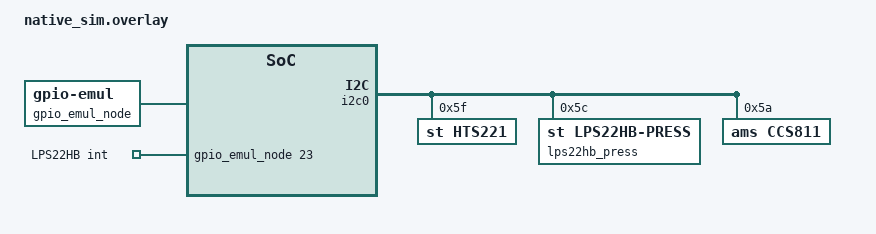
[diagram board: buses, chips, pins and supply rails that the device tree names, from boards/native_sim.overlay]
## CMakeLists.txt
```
# Copyright (c) 2024 Nordic Semiconductor ASA
# SPDX-License-Identifier: LicenseRef-Nordic-5-Clause
cmake_minimum_required(VERSION 3.20.0)

find_package(Zephyr REQUIRED HINTS $ENV{ZEPHYR_BASE})
project(unit_sensor_manager)

# Shared FFF mocks (sensor_manager_mock.* is excluded; the real production
# module is the unit under test, not a fake — link only the bits we need).
add_subdirectory(${CMAKE_SOURCE_DIR}/../common/mocks mocks)

target_sources(app PRIVATE
	src/test_sensor_manager.c
	src/mock_drivers.c
	src/stub_devices.c
	# Reuse the battery_service FFF mock from the battery_service suite —
	# zero duplication.
	${CMAKE_SOURCE_DIR}/../battery_service/src/mock_battery_service.c
	# Production unit under test:
	${CMAKE_SOURCE_DIR}/../../../src/sensor_manager.c
)

target_include_directories(app PRIVATE
	src
	${CMAKE_SOURCE_DIR}/../battery_service/src
	${CMAKE_SOURCE_DIR}/../../../include
)

# Link against shared mocks for DEFINE_FFF_GLOBALS only; suppress the
# sensor_manager_mock since this binary defines the real sensor_manager
# functions itself (they live in the production object file we just added).
target_link_libraries(app PRIVATE app_test_mocks)
```

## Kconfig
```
# Inline the app Kconfig symbols sensor_manager.c references so the
# unit test does not pull in the whole application Kconfig (which has
# `mainmenu` and `source "Kconfig.zephyr"` and is therefore not safely
# composable into a test binary).

config SENSOR_PERIODIC_SAMPLING
	bool "Periodic sensor sampling while connected"
	default n

config SENSOR_ENV_INTERVAL_SEC
	int "Environmental sensor sampling interval in seconds"
	default 900
	range 30 86400
	depends on SENSOR_PERIODIC_SAMPLING

config SENSOR_AIR_QUALITY_DIVISOR
	int "CCS811 read frequency divisor relative to main interval"
	default 2
	range 1 100
	depends on SENSOR_PERIODIC_SAMPLING

source "Kconfig.zephyr"
```

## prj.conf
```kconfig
# Unit test for sensor_manager.c — runs on native_sim with FFF fakes for
# the sensor driver wrappers and battery_service. i2c0 uses the
# zephyr,i2c-emul-controller so device_is_ready() returns true and init
# passes the i2c gate.

CONFIG_ZTEST=y
CONFIG_ZTEST_VERBOSE_OUTPUT=y

CONFIG_EXTERNAL_LIBC=y
CONFIG_USERSPACE=n

CONFIG_HEAP_MEM_POOL_SIZE=16384
CONFIG_MAIN_STACK_SIZE=4096

CONFIG_BT=n

# Real I2C controller (emulated) so device_is_ready(i2c_dev) succeeds.
CONFIG_I2C=y
CONFIG_EMUL=y
CONFIG_I2C_EMUL=y

# Real GPIO emulator for the lps22hb_int phandle resolution.
CONFIG_GPIO=y
CONFIG_GPIO_EMUL=y

# Sensor subsystem disabled — the three sensor drivers are FFF-faked.
CONFIG_SENSOR=n
CONFIG_SPI=n
CONFIG_PM=n

# Settings disabled — sensor_manager.c does not use it directly.

CONFIG_LOG=y
CONFIG_LOG_MODE_IMMEDIATE=y
CONFIG_LOG_DEFAULT_LEVEL=2
```

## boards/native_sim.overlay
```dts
/*
 * Copyright (c) 2024 Nordic Semiconductor ASA
 * SPDX-License-Identifier: LicenseRef-Nordic-5-Clause
 *
 * Devicetree fragment for unit-testing app/src/sensor_manager.c on
 * native_sim.
 *
 * native_sim's base DTS already provides:
 *   - i2c0  (zephyr,i2c-emul-controller, label "i2c0")  -> we extend it
 *           with three placeholder sensor children so DEVICE_DT_GET()
 *           resolves at link time. CONFIG_SENSOR=n means the actual sensor
 *           drivers are not built in, so device_is_ready() returns false
 *           for these nodes -- which is the path the unit tests assert.
 *
 * We add a gpio-emul controller for the lps22hb_int phandle reference
 * (compile-time only; never reached at runtime since lps22hb_press is not
 * ready when CONFIG_SENSOR=n).
 */

/ {
	gpio_emul_node: gpio_emul {
		compatible = "zephyr,gpio-emul";
		gpio-controller;
		#gpio-cells = <2>;
		status = "okay";
	};

	lps22hb_keys {
		compatible = "gpio-keys";

		lps22hb_int: lps22hb_int {
			gpios = <&gpio_emul_node 23 0>;
			label = "LPS22HB int";
		};
	};
};

&i2c0 {
	hts221: hts221@5f {
		compatible = "st,hts221";
		reg = <0x5f>;
		status = "okay";
	};

	lps22hb_press: lps22hb@5c {
		compatible = "st,lps22hb-press";
		reg = <0x5c>;
		status = "okay";
	};

	ccs811: ccs811@5a {
		compatible = "ams,ccs811";
		reg = <0x5a>;
		status = "okay";
	};
};
```

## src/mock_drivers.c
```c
/*
 * Copyright (c) 2024 Nordic Semiconductor ASA
 * SPDX-License-Identifier: LicenseRef-Nordic-5-Clause
 */

#include "mock_drivers.h"

DEFINE_FAKE_VALUE_FUNC(int, hts221_driver_init, const struct device *);
DEFINE_FAKE_VALUE_FUNC(int, hts221_driver_power_on);
DEFINE_FAKE_VALUE_FUNC(int, hts221_driver_power_off);
DEFINE_FAKE_VALUE_FUNC(bool, hts221_driver_is_enabled);
DEFINE_FAKE_VALUE_FUNC(int, hts221_driver_read_temperature, float *);
DEFINE_FAKE_VALUE_FUNC(int, hts221_driver_read_humidity, float *);
DEFINE_FAKE_VALUE_FUNC(int, hts221_driver_read_both, float *, float *);

DEFINE_FAKE_VALUE_FUNC(int, lps22hb_driver_init, const struct device *,
		       const struct gpio_dt_spec *);
DEFINE_FAKE_VALUE_FUNC(int, lps22hb_driver_power_on);
DEFINE_FAKE_VALUE_FUNC(int, lps22hb_driver_trigger_oneshot);
DEFINE_FAKE_VALUE_FUNC(int, lps22hb_driver_wait_data_ready, k_timeout_t);
DEFINE_FAKE_VALUE_FUNC(int, lps22hb_driver_power_off);
DEFINE_FAKE_VALUE_FUNC(bool, lps22hb_driver_is_enabled);
DEFINE_FAKE_VALUE_FUNC(int, lps22hb_driver_read_pressure, float *);

DEFINE_FAKE_VALUE_FUNC(int, ccs811_driver_init, const struct device *);
DEFINE_FAKE_VOID_FUNC(ccs811_driver_on_connected);
DEFINE_FAKE_VOID_FUNC(ccs811_driver_on_disconnected);
DEFINE_FAKE_VALUE_FUNC(bool, ccs811_driver_is_ready);
DEFINE_FAKE_VALUE_FUNC(int64_t, ccs811_driver_conditioning_time_remaining);
DEFINE_FAKE_VALUE_FUNC(int, ccs811_driver_save_baseline);
DEFINE_FAKE_VALUE_FUNC(int, ccs811_driver_restore_baseline);
DEFINE_FAKE_VALUE_FUNC(bool, ccs811_driver_baseline_save_due);
DEFINE_FAKE_VALUE_FUNC(int, ccs811_driver_run_diagnostics);
DEFINE_FAKE_VALUE_FUNC(int, ccs811_driver_manual_reset);
DEFINE_FAKE_VALUE_FUNC(bool, ccs811_driver_is_enabled);
DEFINE_FAKE_VALUE_FUNC(int, ccs811_driver_read_air_quality, uint16_t *, uint16_t *, float, float);
DEFINE_FAKE_VALUE_FUNC(int, ccs811_driver_read_for_ble, uint16_t *, uint16_t *, float, float);
DEFINE_FAKE_VALUE_FUNC(int, ccs811_driver_get_mode);
DEFINE_FAKE_VALUE_FUNC(int, ccs811_driver_set_mode, enum ccs811_measurement_mode);
```

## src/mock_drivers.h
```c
/*
 * Copyright (c) 2024 Nordic Semiconductor ASA
 * SPDX-License-Identifier: LicenseRef-Nordic-5-Clause
 *
 * FFF fakes for the three thin sensor driver wrappers used by
 * app/src/sensor_manager.c. These let us drive every code path of
 * sensor_manager (success, failure, conditioning, range-clamp) without
 * any real I2C transactions.
 */

#ifndef MOCK_DRIVERS_H_
#define MOCK_DRIVERS_H_

#include <zephyr/fff.h>
#include <zephyr/device.h>
#include <zephyr/drivers/gpio.h>
#include <zephyr/kernel.h>
#include <stdint.h>
#include <stdbool.h>

#include "sensor_hts221_driver.h"
#include "sensor_lps22hb_driver.h"
#include "sensor_ccs811_driver.h"

/* HTS221 */
DECLARE_FAKE_VALUE_FUNC(int, hts221_driver_init, const struct device *);
DECLARE_FAKE_VALUE_FUNC(int, hts221_driver_power_on);
DECLARE_FAKE_VALUE_FUNC(int, hts221_driver_power_off);
DECLARE_FAKE_VALUE_FUNC(bool, hts221_driver_is_enabled);
DECLARE_FAKE_VALUE_FUNC(int, hts221_driver_read_temperature, float *);
DECLARE_FAKE_VALUE_FUNC(int, hts221_driver_read_humidity, float *);
DECLARE_FAKE_VALUE_FUNC(int, hts221_driver_read_both, float *, float *);

/* LPS22HB */
DECLARE_FAKE_VALUE_FUNC(int, lps22hb_driver_init, const struct device *,
			const struct gpio_dt_spec *);
DECLARE_FAKE_VALUE_FUNC(int, lps22hb_driver_power_on);
DECLARE_FAKE_VALUE_FUNC(int, lps22hb_driver_trigger_oneshot);
DECLARE_FAKE_VALUE_FUNC(int, lps22hb_driver_wait_data_ready, k_timeout_t);
DECLARE_FAKE_VALUE_FUNC(int, lps22hb_driver_power_off);
DECLARE_FAKE_VALUE_FUNC(bool, lps22hb_driver_is_enabled);
DECLARE_FAKE_VALUE_FUNC(int, lps22hb_driver_read_pressure, float *);

/* CCS811 */
DECLARE_FAKE_VALUE_FUNC(int, ccs811_driver_init, const struct device *);
DECLARE_FAKE_VOID_FUNC(ccs811_driver_on_connected);
DECLARE_FAKE_VOID_FUNC(ccs811_driver_on_disconnected);
DECLARE_FAKE_VALUE_FUNC(bool, ccs811_driver_is_ready);
DECLARE_FAKE_VALUE_FUNC(int64_t, ccs811_driver_conditioning_time_remaining);
DECLARE_FAKE_VALUE_FUNC(int, ccs811_driver_save_baseline);
DECLARE_FAKE_VALUE_FUNC(int, ccs811_driver_restore_baseline);
DECLARE_FAKE_VALUE_FUNC(bool, ccs811_driver_baseline_save_due);
DECLARE_FAKE_VALUE_FUNC(int, ccs811_driver_run_diagnostics);
DECLARE_FAKE_VALUE_FUNC(int, ccs811_driver_manual_reset);
DECLARE_FAKE_VALUE_FUNC(bool, ccs811_driver_is_enabled);
DECLARE_FAKE_VALUE_FUNC(int, ccs811_driver_read_air_quality, uint16_t *, uint16_t *, float, float);
DECLARE_FAKE_VALUE_FUNC(int, ccs811_driver_read_for_ble, uint16_t *, uint16_t *, float, float);
DECLARE_FAKE_VALUE_FUNC(int, ccs811_driver_get_mode);
DECLARE_FAKE_VALUE_FUNC(int, ccs811_driver_set_mode, enum ccs811_measurement_mode);

#define MOCK_DRIVERS_FFF_FAKES_LIST(FAKE)                                                          \
	FAKE(hts221_driver_init)                                                                   \
	FAKE(hts221_driver_power_on)                                                               \
	FAKE(hts221_driver_power_off)                                                              \
	FAKE(hts221_driver_is_enabled)                                                             \
	FAKE(hts221_driver_read_temperature)                                                       \
	FAKE(hts221_driver_read_humidity)                                                          \
	FAKE(hts221_driver_read_both)                                                              \
	FAKE(lps22hb_driver_init)                                                                  \
	FAKE(lps22hb_driver_power_on)                                                              \
	FAKE(lps22hb_driver_trigger_oneshot)                                                       \
	FAKE(lps22hb_driver_wait_data_ready)                                                       \
	FAKE(lps22hb_driver_power_off)                                                             \
	FAKE(lps22hb_driver_is_enabled)                                                            \
	FAKE(lps22hb_driver_read_pressure)                                                         \
	FAKE(ccs811_driver_init)                                                                   \
	FAKE(ccs811_driver_on_connected)                                                           \
	FAKE(ccs811_driver_on_disconnected)                                                        \
	FAKE(ccs811_driver_is_ready)                                                               \
	FAKE(ccs811_driver_conditioning_time_remaining)                                            \
	FAKE(ccs811_driver_save_baseline)                                                          \
	FAKE(ccs811_driver_restore_baseline)                                                       \
	FAKE(ccs811_driver_baseline_save_due)                                                      \
	FAKE(ccs811_driver_run_diagnostics)                                                        \
	FAKE(ccs811_driver_manual_reset)                                                           \
	FAKE(ccs811_driver_is_enabled)                                                             \
	FAKE(ccs811_driver_read_air_quality)                                                       \
	FAKE(ccs811_driver_read_for_ble)                                                           \
	FAKE(ccs811_driver_get_mode)                                                               \
	FAKE(ccs811_driver_set_mode)

#endif /* MOCK_DRIVERS_H_ */
```

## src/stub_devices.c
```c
/*
 * Copyright (c) 2024 Nordic Semiconductor ASA
 * SPDX-License-Identifier: LicenseRef-Nordic-5-Clause
 *
 * Stub `struct device` instances for the three sensor DT nodes so
 * DEVICE_DT_GET(DT_NODELABEL(hts221|lps22hb_press|ccs811)) resolves at
 * link time on native_sim.
 *
 * Each stub init returns 0, so device_is_ready() returns true and MY
 * sensor_manager_init() takes the success path through every driver init
 * call (which is then served by the FFF fakes in mock_drivers.c).
 */

#include <zephyr/device.h>
#include <zephyr/init.h>

static int stub_dev_init(const struct device *dev)
{
	ARG_UNUSED(dev);
	return 0;
}

DEVICE_DT_DEFINE(DT_NODELABEL(hts221), stub_dev_init, NULL, NULL, NULL,
		 POST_KERNEL, 90, NULL);

DEVICE_DT_DEFINE(DT_NODELABEL(lps22hb_press), stub_dev_init, NULL, NULL, NULL,
		 POST_KERNEL, 90, NULL);

DEVICE_DT_DEFINE(DT_NODELABEL(ccs811), stub_dev_init, NULL, NULL, NULL,
		 POST_KERNEL, 90, NULL);
```

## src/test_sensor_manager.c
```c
/*
 * Copyright (c) 2024 Nordic Semiconductor ASA
 * SPDX-License-Identifier: LicenseRef-Nordic-5-Clause
 *
 * Unit tests for app/src/sensor_manager.c.
 *
 * The unit-under-test holds static state (initialized, armed, current_data,
 * connected_count, registered callback) that cannot be reset between tests.
 * Pre-init guards therefore cannot run after the first test that calls init,
 * so they live in their own ZTEST_SUITE binary if isolation is needed; here
 * we exercise them by name "test_pre_*" and rely on the fact that they only
 * read state. Behaviour tests reset all FFF fakes and force the callback to
 * NULL in before_each so each test starts from a clean observation surface.
 *
 * Strategy: for every test, drive a known input via FFF custom_fake or
 * return_val, exercise MY code, then assert MY observable output (cache,
 * getters, valid_mask, on-the-wire fan-out parameters). We never assert
 * "Zephyr did the right thing" -- only that my code produced the contracted
 * output for the given input.
 */

#include <zephyr/ztest.h>
#include <zephyr/fff.h>
#include <zephyr/kernel.h>
#include <math.h>
#include <string.h>

#include "sensor_manager.h"
#include "mock_drivers.h"
#include "mock_battery_service.h"

/* DEFINE_FFF_GLOBALS lives in the shared mocks library (fff_globals.c). */

/* ---- Callback observation ------------------------------------------------ */

static int callback_call_count;
static struct sensor_data last_callback_data;

static void test_callback(const struct sensor_data *data)
{
	callback_call_count++;
	last_callback_data = *data;
}

/* ---- CCS811 read helpers (drive known inputs into MY code) -------------- */

/* Captures the temperature and humidity that MY code passes to the CCS811
 * driver as environmental compensation arguments. */
static float captured_t;
static float captured_h;

static int read_aq_capture_compensation(uint16_t *co2, uint16_t *tvoc, float t, float h)
{
	captured_t = t;
	captured_h = h;
	if (co2) {
		*co2 = 600U;
	}
	if (tvoc) {
		*tvoc = 25U;
	}
	return 0;
}

static int read_aq_valid(uint16_t *co2, uint16_t *tvoc, float t, float h)
{
	ARG_UNUSED(t);
	ARG_UNUSED(h);
	if (co2) {
		*co2 = 600U;
	}
	if (tvoc) {
		*tvoc = 25U;
	}
	return 0;
}

static int read_aq_ble_valid(uint16_t *co2, uint16_t *tvoc, float t, float h)
{
	ARG_UNUSED(t);
	ARG_UNUSED(h);
	if (co2) {
		*co2 = 750U;
	}
	if (tvoc) {
		*tvoc = 40U;
	}
	return 0;
}

static int read_aq_invalid_range(uint16_t *co2, uint16_t *tvoc, float t, float h)
{
	ARG_UNUSED(t);
	ARG_UNUSED(h);
	if (co2) {
		*co2 = CCS811_INVALID_READING; /* sentinel */
	}
	if (tvoc) {
		*tvoc = 5000U; /* > CCS811_TVOC_MAX_PPB (1187) */
	}
	return 0;
}

/* eCO2 in-range, TVOC out-of-range: exercises the asymmetric branch in
 * read_air_quality(): individual cached values updated independently, but
 * SENSOR_AIR_QUALITY flag only set when BOTH are valid. */
static int read_aq_only_eco2_valid(uint16_t *co2, uint16_t *tvoc, float t, float h)
{
	ARG_UNUSED(t);
	ARG_UNUSED(h);
	if (co2) {
		*co2 = 700U;
	}
	if (tvoc) {
		*tvoc = 9999U; /* out of range */
	}
	return 0;
}

static int read_aq_only_tvoc_valid(uint16_t *co2, uint16_t *tvoc, float t, float h)
{
	ARG_UNUSED(t);
	ARG_UNUSED(h);
	if (co2) {
		*co2 = 0U; /* invalid: 0 fails the eco2 != 0 check */
	}
	if (tvoc) {
		*tvoc = 100U;
	}
	return 0;
}

/* ---- HTS221 / LPS22HB read helpers -------------------------------------- */

static int read_both_valid(float *temp, float *hum)
{
	if (temp) {
		*temp = 21.5f;
	}
	if (hum) {
		*hum = 47.0f;
	}
	return 0;
}

static int read_pressure_valid(float *p)
{
	if (p) {
		*p = 1013.25f;
	}
	return 0;
}

/* ---- Suite plumbing ----------------------------------------------------- */

static void reset_all_fakes(void)
{
	MOCK_DRIVERS_FFF_FAKES_LIST(RESET_FAKE);
	BATTERY_SERVICE_FFF_FAKES_LIST(RESET_FAKE);
	FFF_RESET_HISTORY();
	callback_call_count = 0;
	memset(&last_callback_data, 0, sizeof(last_callback_data));
	captured_t = 0.0f;
	captured_h = 0.0f;
}

static void before_each(void *fixture)
{
	ARG_UNUSED(fixture);
	reset_all_fakes();
	/* Detach any callback a previous test registered so update() does not
	 * inadvertently invoke stale callbacks. The unit-under-test allows NULL. */
	(void)sensor_manager_register_callback(NULL);
}

ZTEST_SUITE(sensor_manager, NULL, NULL, before_each, NULL, NULL);

/* ---- Pre-init guards ---------------------------------------------------- */
/* These tests rely on running before any test in this binary calls init().
 * ztest does not contractually guarantee ordering; we use the "test_pre_*"
 * prefix so they sort first under the default lex ordering. If a future
 * change breaks that, move them to a separate suite binary. */

ZTEST(sensor_manager, test_pre_a_get_data_pre_init_returns_einval)
{
	struct sensor_data d;
	zassert_equal(sensor_manager_get_data(&d), -EINVAL);
}

ZTEST(sensor_manager, test_pre_b_update_pre_init_returns_einval)
{
	zassert_equal(sensor_manager_update(), -EINVAL);
}

ZTEST(sensor_manager, test_pre_c_update_selective_pre_init_returns_einval)
{
	zassert_equal(sensor_manager_update_selective(SENSOR_ENV_BASIC), -EINVAL);
}

ZTEST(sensor_manager, test_pre_d_arm_pre_init_returns_einval)
{
	zassert_equal(sensor_manager_arm(), -EINVAL);
}

ZTEST(sensor_manager, test_pre_e_on_connected_unarmed_returns_einval)
{
	zassert_equal(sensor_manager_on_connected(), -EINVAL);
}

ZTEST(sensor_manager, test_pre_f_pre_init_getters_return_zero)
{
	zassert_equal(sensor_manager_get_temperature(), 0.0f);
	zassert_equal(sensor_manager_get_humidity(), 0.0f);
	zassert_equal(sensor_manager_get_pressure(), 0.0f);
	zassert_equal(sensor_manager_get_eco2(), 0U);
	zassert_equal(sensor_manager_get_tvoc(), 0U);
	zassert_equal(sensor_manager_get_battery_level(), 0U);
	zassert_false(sensor_manager_is_armed());
	zassert_equal(sensor_manager_get_connection_count(), 0U);
}

ZTEST(sensor_manager, test_pre_g_on_disconnected_no_count_is_safe)
{
	/* MY contract: warn and return without crashing when count == 0. */
	sensor_manager_on_disconnected();
}

ZTEST(sensor_manager, test_pre_h_is_ccs811_ready_proxies_to_driver)
{
	ccs811_driver_is_ready_fake.return_val = true;
	zassert_true(sensor_manager_is_ccs811_ready());
	zassert_equal(ccs811_driver_is_ready_fake.call_count, 1);

	ccs811_driver_is_ready_fake.return_val = false;
	zassert_false(sensor_manager_is_ccs811_ready());
}

/* ---- Init --------------------------------------------------------------- */

ZTEST(sensor_manager, test_q01_init_succeeds_and_invokes_each_driver_init)
{
	hts221_driver_read_both_fake.custom_fake = read_both_valid;
	lps22hb_driver_read_pressure_fake.custom_fake = read_pressure_valid;
	ccs811_driver_read_air_quality_fake.custom_fake = read_aq_valid;
	battery_service_get_level_fake.return_val = 88;
	battery_service_is_charging_fake.return_val = false;

	int ret = sensor_manager_init();
	zassert_equal(ret, 0, "init returned %d", ret);

	zassert_equal(battery_service_init_fake.call_count, 1,
		      "init must call battery_service_init exactly once");
	zassert_equal(hts221_driver_init_fake.call_count, 1);
	zassert_equal(lps22hb_driver_init_fake.call_count, 1);
	zassert_equal(ccs811_driver_init_fake.call_count, 1);
}

ZTEST(sensor_manager, test_q02_init_is_idempotent)
{
	int ret = sensor_manager_init();
	zassert_equal(ret, 0);
	/* Second call must short-circuit and not re-init drivers. */
	zassert_equal(hts221_driver_init_fake.call_count, 0,
		      "idempotent init must not re-init HTS221");
	zassert_equal(lps22hb_driver_init_fake.call_count, 0);
	zassert_equal(ccs811_driver_init_fake.call_count, 0);
	zassert_equal(battery_service_init_fake.call_count, 0);
}

/* ---- Update fan-out and caching ---------------------------------------- */

ZTEST(sensor_manager, test_r01_update_writes_full_cache_and_invokes_callback)
{
	hts221_driver_read_both_fake.custom_fake = read_both_valid;
	lps22hb_driver_read_pressure_fake.custom_fake = read_pressure_valid;
	ccs811_driver_read_air_quality_fake.custom_fake = read_aq_valid;
	battery_service_get_level_fake.return_val = 75;
	battery_service_is_charging_fake.return_val = true;

	zassert_equal(sensor_manager_register_callback(test_callback), 0);
	callback_call_count = 0;

	zassert_equal(sensor_manager_update(), 0);

	/* Each driver read called exactly once. */
	zassert_equal(hts221_driver_read_both_fake.call_count, 1);
	zassert_equal(lps22hb_driver_read_pressure_fake.call_count, 1);
	zassert_equal(ccs811_driver_read_air_quality_fake.call_count, 1);
	zassert_equal(battery_service_get_level_fake.call_count, 1);

	/* Cache reflects driver outputs. */
	zassert_within(sensor_manager_get_temperature(), 21.5f, 0.01f);
	zassert_within(sensor_manager_get_humidity(), 47.0f, 0.01f);
	zassert_within(sensor_manager_get_pressure(), 1013.25f, 0.01f);
	zassert_equal(sensor_manager_get_eco2(), 600U);
	zassert_equal(sensor_manager_get_tvoc(), 25U);
	zassert_equal(sensor_manager_get_battery_level(), 75U);

	/* Callback fired exactly once with the same payload as the cache. */
	zassert_equal(callback_call_count, 1);
	zassert_true((last_callback_data.valid_mask & SENSOR_TEMPERATURE) != 0);
	zassert_true((last_callback_data.valid_mask & SENSOR_HUMIDITY) != 0);
	zassert_true((last_callback_data.valid_mask & SENSOR_PRESSURE) != 0);
	zassert_true((last_callback_data.valid_mask & SENSOR_AIR_QUALITY) != 0);
	zassert_true((last_callback_data.valid_mask & SENSOR_BATTERY) != 0);
	zassert_true(last_callback_data.battery_charging);
}

ZTEST(sensor_manager, test_r02_update_air_quality_invalid_range_clears_flag)
{
	ccs811_driver_read_air_quality_fake.custom_fake = read_aq_invalid_range;

	zassert_equal(sensor_manager_update_selective(SENSOR_AIR_QUALITY), 0);

	struct sensor_data snap;
	zassert_equal(sensor_manager_get_data(&snap), 0);
	zassert_equal(snap.valid_mask & SENSOR_AIR_QUALITY, 0,
		      "out-of-range readings must clear SENSOR_AIR_QUALITY in valid_mask");
	zassert_equal(sensor_manager_get_eco2(), 0U);
	zassert_equal(sensor_manager_get_tvoc(), 0U);
}

ZTEST(sensor_manager, test_r03_air_quality_only_eco2_valid_does_not_set_flag)
{
	/* Asymmetric branch in read_air_quality(): when only one of the two
	 * is in range, the cached value is updated but SENSOR_AIR_QUALITY is
	 * NOT set (the public mask requires both). */
	ccs811_driver_read_air_quality_fake.custom_fake = read_aq_only_eco2_valid;

	zassert_equal(sensor_manager_update_selective(SENSOR_AIR_QUALITY), 0);

	struct sensor_data snap;
	zassert_equal(sensor_manager_get_data(&snap), 0);
	zassert_equal(snap.valid_mask & SENSOR_AIR_QUALITY, 0,
		      "asymmetric validity must NOT set SENSOR_AIR_QUALITY");
	/* Getters honour the mask, so they read 0 even though the cache field
	 * for eco2 was internally written. That's the public contract. */
	zassert_equal(sensor_manager_get_eco2(), 0U);
}

ZTEST(sensor_manager, test_r04_air_quality_only_tvoc_valid_does_not_set_flag)
{
	ccs811_driver_read_air_quality_fake.custom_fake = read_aq_only_tvoc_valid;

	zassert_equal(sensor_manager_update_selective(SENSOR_AIR_QUALITY), 0);

	struct sensor_data snap;
	zassert_equal(sensor_manager_get_data(&snap), 0);
	zassert_equal(snap.valid_mask & SENSOR_AIR_QUALITY, 0,
		      "asymmetric validity must NOT set SENSOR_AIR_QUALITY");
}

ZTEST(sensor_manager, test_r05_update_selective_only_reads_selected)
{
	hts221_driver_read_both_fake.custom_fake = read_both_valid;
	lps22hb_driver_read_pressure_fake.custom_fake = read_pressure_valid;

	zassert_equal(sensor_manager_update_selective(SENSOR_TEMP_HUMIDITY), 0);

	zassert_equal(hts221_driver_read_both_fake.call_count, 1);
	zassert_equal(lps22hb_driver_read_pressure_fake.call_count, 0,
		      "pressure must NOT be read when not selected");
	zassert_equal(ccs811_driver_read_air_quality_fake.call_count, 0);
	zassert_equal(battery_service_get_level_fake.call_count, 0);
}

ZTEST(sensor_manager, test_r06_get_data_null_pointer_returns_einval)
{
	zassert_equal(sensor_manager_get_data(NULL), -EINVAL);
}

/* ---- Per-driver failure must surface in valid_mask --------------------- */

ZTEST(sensor_manager, test_r07_hts221_failure_clears_temp_humidity_only)
{
	/* Seed cache with valid values for everything. */
	hts221_driver_read_both_fake.custom_fake = read_both_valid;
	lps22hb_driver_read_pressure_fake.custom_fake = read_pressure_valid;
	ccs811_driver_read_air_quality_fake.custom_fake = read_aq_valid;
	battery_service_get_level_fake.return_val = 50;
	zassert_equal(sensor_manager_update(), 0);

	struct sensor_data before;
	zassert_equal(sensor_manager_get_data(&before), 0);
	zassert_true((before.valid_mask & SENSOR_TEMPERATURE) != 0);
	zassert_true((before.valid_mask & SENSOR_PRESSURE) != 0);

	/* Now make HTS221 fail on the next update. */
	hts221_driver_read_both_fake.custom_fake = NULL;
	hts221_driver_read_both_fake.return_val = -EIO;

	zassert_equal(sensor_manager_update(), 0);

	struct sensor_data after;
	zassert_equal(sensor_manager_get_data(&after), 0);
	zassert_equal(after.valid_mask & SENSOR_TEMPERATURE, 0,
		      "HTS221 failure must clear SENSOR_TEMPERATURE");
	zassert_equal(after.valid_mask & SENSOR_HUMIDITY, 0,
		      "HTS221 failure must clear SENSOR_HUMIDITY");
	zassert_true((after.valid_mask & SENSOR_PRESSURE) != 0,
		     "HTS221 failure must NOT touch SENSOR_PRESSURE");
	zassert_true((after.valid_mask & SENSOR_AIR_QUALITY) != 0,
		     "HTS221 failure must NOT touch SENSOR_AIR_QUALITY");
}

ZTEST(sensor_manager, test_r08_lps22hb_failure_clears_pressure_only)
{
	hts221_driver_read_both_fake.custom_fake = read_both_valid;
	lps22hb_driver_read_pressure_fake.custom_fake = read_pressure_valid;
	ccs811_driver_read_air_quality_fake.custom_fake = read_aq_valid;
	battery_service_get_level_fake.return_val = 50;
	zassert_equal(sensor_manager_update(), 0);

	lps22hb_driver_read_pressure_fake.custom_fake = NULL;
	lps22hb_driver_read_pressure_fake.return_val = -EIO;

	zassert_equal(sensor_manager_update(), 0);

	struct sensor_data after;
	zassert_equal(sensor_manager_get_data(&after), 0);
	zassert_equal(after.valid_mask & SENSOR_PRESSURE, 0,
		      "LPS22HB failure must clear SENSOR_PRESSURE");
	zassert_true((after.valid_mask & SENSOR_TEMPERATURE) != 0,
		     "LPS22HB failure must NOT touch SENSOR_TEMPERATURE");
}

/* ---- Environmental compensation pass-through to CCS811 ----------------- */

ZTEST(sensor_manager, test_r09_compensation_passes_cached_temp_humidity_to_ccs811)
{
	hts221_driver_read_both_fake.custom_fake = read_both_valid;
	lps22hb_driver_read_pressure_fake.custom_fake = read_pressure_valid;
	ccs811_driver_read_air_quality_fake.custom_fake = read_aq_capture_compensation;
	battery_service_get_level_fake.return_val = 50;

	zassert_equal(sensor_manager_update(), 0);

	zassert_within(captured_t, 21.5f, 0.01f,
		       "CCS811 compensation must receive cached temperature, got %f",
		       (double)captured_t);
	zassert_within(captured_h, 47.0f, 0.01f,
		       "CCS811 compensation must receive cached humidity, got %f",
		       (double)captured_h);
}

ZTEST(sensor_manager, test_r10_compensation_passes_nan_when_temp_humidity_invalid)
{
	/* Make HTS221 fail so SENSOR_TEMPERATURE/HUMIDITY bits are cleared. */
	hts221_driver_read_both_fake.return_val = -EIO;
	lps22hb_driver_read_pressure_fake.custom_fake = read_pressure_valid;
	ccs811_driver_read_air_quality_fake.custom_fake = read_aq_capture_compensation;
	battery_service_get_level_fake.return_val = 50;

	zassert_equal(sensor_manager_update(), 0);

	zassert_true(isnan(captured_t),
		     "CCS811 compensation temp must be NaN when SENSOR_TEMPERATURE invalid");
	zassert_true(isnan(captured_h),
		     "CCS811 compensation humidity must be NaN when SENSOR_HUMIDITY invalid");
}

/* ---- Arm + connection lifecycle --------------------------------------- */

ZTEST(sensor_manager, test_s01_arm_requires_callback)
{
	/* before_each forced callback NULL. */
	zassert_equal(sensor_manager_arm(), -EINVAL, "arm must reject when no callback registered");
}

ZTEST(sensor_manager, test_s02_arm_succeeds_with_callback)
{
	zassert_equal(sensor_manager_register_callback(test_callback), 0);
	zassert_equal(sensor_manager_arm(), 0);
}

ZTEST(sensor_manager, test_s03_on_connected_after_arm_does_env_then_aq_update)
{
	zassert_equal(sensor_manager_register_callback(test_callback), 0);
	zassert_equal(sensor_manager_arm(), 0);

	hts221_driver_read_both_fake.custom_fake = read_both_valid;
	lps22hb_driver_read_pressure_fake.custom_fake = read_pressure_valid;
	ccs811_driver_read_air_quality_fake.custom_fake = read_aq_valid;
	battery_service_get_level_fake.return_val = 70;

	/* Reset counters to isolate effect of on_connected. */
	hts221_driver_read_both_fake.call_count = 0;
	lps22hb_driver_read_pressure_fake.call_count = 0;
	ccs811_driver_read_air_quality_fake.call_count = 0;
	battery_service_get_level_fake.call_count = 0;

	zassert_equal(sensor_manager_on_connected(), 0);
	zassert_equal(sensor_manager_get_connection_count(), 1U);
	zassert_true(sensor_manager_is_armed());
	zassert_equal(ccs811_driver_on_connected_fake.call_count, 1,
		      "connect must notify CCS811 driver");

	/* MY contract per sensor_manager.c on_connected():
	 *   update_selective(SENSOR_ENV_BASIC) -> hts221+lps22hb+battery x1
	 *   update_selective(SENSOR_AIR_QUALITY) -> ccs811 x1
	 */
	zassert_equal(hts221_driver_read_both_fake.call_count, 1,
		      "on_connected must trigger one env update");
	zassert_equal(lps22hb_driver_read_pressure_fake.call_count, 1);
	zassert_equal(battery_service_get_level_fake.call_count, 1);
	zassert_equal(ccs811_driver_read_air_quality_fake.call_count, 1,
		      "on_connected must trigger one AQ update");

	/* Bring the connection counter back to zero so subsequent tests start
	 * from a clean lifecycle state. */
	sensor_manager_on_disconnected();
	zassert_equal(sensor_manager_get_connection_count(), 0U);
}

ZTEST(sensor_manager, test_s04_on_disconnected_stops_further_reads_until_reconnect)
{
	zassert_equal(sensor_manager_register_callback(test_callback), 0);
	zassert_equal(sensor_manager_arm(), 0);

	hts221_driver_read_both_fake.custom_fake = read_both_valid;
	lps22hb_driver_read_pressure_fake.custom_fake = read_pressure_valid;
	ccs811_driver_read_air_quality_fake.custom_fake = read_aq_valid;
	battery_service_get_level_fake.return_val = 70;

	zassert_equal(sensor_manager_on_connected(), 0);
	zassert_equal(hts221_driver_read_both_fake.call_count, 1);

	sensor_manager_on_disconnected();

	hts221_driver_read_both_fake.call_count = 0;
	ccs811_driver_read_air_quality_fake.call_count = 0;

	zassert_equal(sensor_manager_on_connected(), 0);
	zassert_equal(hts221_driver_read_both_fake.call_count, 1);
	zassert_equal(ccs811_driver_read_air_quality_fake.call_count, 1);

	sensor_manager_on_disconnected();
}

/* ---- BLE-optimized AQ update ------------------------------------------ */

ZTEST(sensor_manager, test_t01_update_air_quality_for_ble_caches_valid)
{
	ccs811_driver_read_for_ble_fake.custom_fake = read_aq_ble_valid;

	sensor_manager_update_air_quality_for_ble();

	zassert_equal(ccs811_driver_read_for_ble_fake.call_count, 1);

	struct sensor_data snap;
	zassert_equal(sensor_manager_get_data(&snap), 0);
	zassert_true((snap.valid_mask & SENSOR_AIR_QUALITY) != 0,
		     "valid AQ read must set SENSOR_AIR_QUALITY");
	zassert_equal(snap.eco2, 750U);
	zassert_equal(snap.tvoc, 40U);
	zassert_equal(sensor_manager_get_eco2(), 750U);
	zassert_equal(sensor_manager_get_tvoc(), 40U);
}

ZTEST(sensor_manager, test_t02_update_air_quality_for_ble_keeps_cache_on_failure)
{
	/* Seed cache. */
	ccs811_driver_read_for_ble_fake.custom_fake = read_aq_ble_valid;
	sensor_manager_update_air_quality_for_ble();

	struct sensor_data before;
	zassert_equal(sensor_manager_get_data(&before), 0);
	zassert_true((before.valid_mask & SENSOR_AIR_QUALITY) != 0);

	/* Drive failure. */
	ccs811_driver_read_for_ble_fake.custom_fake = NULL;
	ccs811_driver_read_for_ble_fake.return_val = -EAGAIN;

	sensor_manager_update_air_quality_for_ble();

	struct sensor_data after;
	zassert_equal(sensor_manager_get_data(&after), 0);
	zassert_true((after.valid_mask & SENSOR_AIR_QUALITY) != 0,
		     "BLE-AQ failure must NOT clear cached SENSOR_AIR_QUALITY");
	zassert_equal(after.eco2, before.eco2, "BLE-AQ failure must NOT alter cached eco2");
	zassert_equal(after.tvoc, before.tvoc);
}
```
